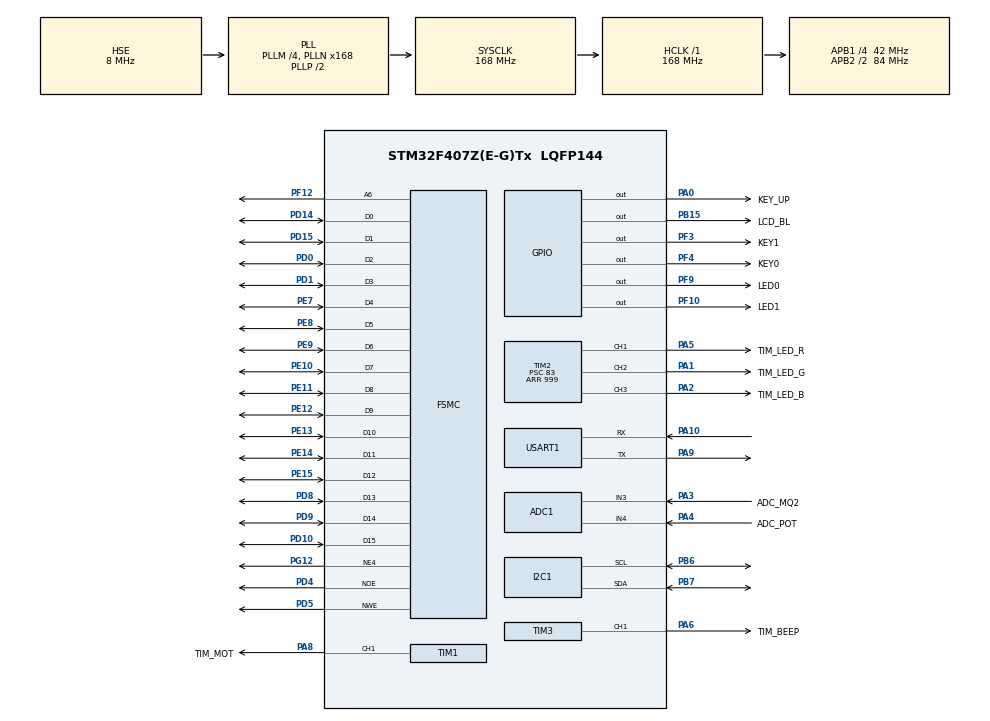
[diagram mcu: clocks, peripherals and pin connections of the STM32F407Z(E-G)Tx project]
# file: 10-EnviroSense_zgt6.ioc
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ADC1.Channel-0\#ChannelRegularConversion=ADC_CHANNEL_3
ADC1.Channel-1\#ChannelRegularConversion=ADC_CHANNEL_4
ADC1.ContinuousConvMode=DISABLE
ADC1.DMAContinuousRequests=ENABLE
ADC1.NbrOfConversion=2
ADC1.NbrOfConversionFlag=1
ADC1.Rank-0\#ChannelRegularConversion=1
ADC1.Rank-1\#ChannelRegularConversion=2
ADC1.SamplingTime-0\#ChannelRegularConversion=ADC_SAMPLETIME_28CYCLES
ADC1.SamplingTime-1\#ChannelRegularConversion=ADC_SAMPLETIME_28CYCLES
ADC1.ScanConvMode=ENABLE
ADC1.master=1
Dma.ADC1.0.Direction=DMA_PERIPH_TO_MEMORY
Dma.ADC1.0.FIFOMode=DMA_FIFOMODE_DISABLE
Dma.ADC1.0.Instance=DMA2_Stream0
Dma.ADC1.0.MemDataAlignment=DMA_MDATAALIGN_HALFWORD
Dma.ADC1.0.MemInc=DMA_MINC_ENABLE
Dma.ADC1.0.Mode=DMA_NORMAL
Dma.ADC1.0.PeriphDataAlignment=DMA_PDATAALIGN_HALFWORD
Dma.ADC1.0.PeriphInc=DMA_PINC_DISABLE
Dma.ADC1.0.Priority=DMA_PRIORITY_LOW
Dma.Request0=ADC1
Dma.Request1=USART1_TX
Dma.USART1_TX.1.Direction=DMA_MEMORY_TO_PERIPH
Dma.USART1_TX.1.FIFOMode=DMA_FIFOMODE_DISABLE
Dma.USART1_TX.1.Instance=DMA2_Stream7
Dma.USART1_TX.1.MemDataAlignment=DMA_MDATAALIGN_BYTE
Dma.USART1_TX.1.MemInc=DMA_MINC_ENABLE
Dma.USART1_TX.1.Mode=DMA_NORMAL
Dma.USART1_TX.1.PeriphDataAlignment=DMA_PDATAALIGN_BYTE
Dma.USART1_TX.1.PeriphInc=DMA_PINC_DISABLE
Dma.USART1_TX.1.Priority=DMA_PRIORITY_LOW
FREERTOS.Tasks01=defaultTask,0,1024,StartDefaultTask,Default,NULL,Dynamic,NULL,NULL
FSMC.BusTurnAroundDuration4=0
FSMC.DataSetupTime4=60
FSMC.ExtendedAddressSetupTime4=9
FSMC.ExtendedBusTurnAroundDuration4=0
FSMC.ExtendedDataSetupTime4=9
FSMC.ExtendedMode4=FSMC_EXTENDED_MODE_ENABLE
Mcu.Family=STM32F4
Mcu.Name=STM32F407Z(E-G)Tx
Mcu.Package=LQFP144
NVIC.DMA2_Stream0_IRQn=true\:5\:0\:false\:false\:true\:true\:false\:true
NVIC.DMA2_Stream7_IRQn=true\:5\:0\:false\:false\:true\:true\:false\:true
NVIC.PriorityGroup=NVIC_PRIORITYGROUP_4
NVIC.TIM6_DAC_IRQn=true\:15\:0\:false\:false\:true\:false\:false\:true
NVIC.TimeBase=TIM6_DAC_IRQn
NVIC.TimeBaseIP=TIM6
NVIC.USART1_IRQn=true\:5\:0\:false\:false\:true\:true\:true\:true
PA0-WKUP.GPIO_Label=KEY_UP
PA0-WKUP.Signal=GPIO_Output
PA0-WKUP.Stacked=true
PA1.GPIO_Label=TIM_LED_G
PA1.GPIO_Speed=GPIO_SPEED_FREQ_HIGH
PA1.Signal=S_TIM2_CH2
PA10.Mode=Asynchronous
PA10.Signal=USART1_RX
PA10.Stacked=true
PA13.Mode=Serial_Wire
PA13.Signal=SYS_JTMS-SWDIO
PA14.Mode=Serial_Wire
PA14.Signal=SYS_JTCK-SWCLK
PA2.GPIO_Label=TIM_LED_B
PA2.GPIO_Speed=GPIO_SPEED_FREQ_HIGH
PA2.Signal=S_TIM2_CH3
PA3.GPIO_Label=ADC_MQ2
PA3.Signal=ADCx_IN3
PA3.Stacked=true
PA4.GPIO_Label=ADC_POT
PA4.Signal=ADCx_IN4
PA4.Stacked=true
PA5.GPIO_Label=TIM_LED_R
PA5.GPIO_Speed=GPIO_SPEED_FREQ_HIGH
PA5.Signal=S_TIM2_CH1_ETR
PA6.GPIO_Label=TIM_BEEP
PA6.GPIO_Speed=GPIO_SPEED_FREQ_HIGH
PA6.Signal=S_TIM3_CH1
PA8.GPIO_Label=TIM_MOT
PA8.Signal=S_TIM1_CH1
PA8.Stacked=true
PA9.Mode=Asynchronous
PA9.Signal=USART1_TX
PA9.Stacked=true
PB15.GPIO_Label=LCD_BL
PB15.Signal=GPIO_Output
PB15.Stacked=true
PB6.Mode=I2C
PB6.Signal=I2C1_SCL
PB6.Stacked=true
PB7.Mode=I2C
PB7.Signal=I2C1_SDA
PB7.Stacked=true
PC14-OSC32_IN.Mode=LSE-External-Oscillator
PC14-OSC32_IN.Signal=RCC_OSC32_IN
PC15-OSC32_OUT.Mode=LSE-External-Oscillator
PC15-OSC32_OUT.Signal=RCC_OSC32_OUT
PD0.Signal=FSMC_D2_DA2
PD1.Signal=FSMC_D3_DA3
PD10.Signal=FSMC_D15_DA15
PD14.Signal=FSMC_D0_DA0
PD15.Signal=FSMC_D1_DA1
PD4.Signal=FSMC_NOE
PD5.Signal=FSMC_NWE
PD8.Signal=FSMC_D13_DA13
PD9.Signal=FSMC_D14_DA14
PE10.Signal=FSMC_D7_DA7
PE11.Signal=FSMC_D8_DA8
PE12.Signal=FSMC_D9_DA9
PE13.Signal=FSMC_D10_DA10
PE14.Signal=FSMC_D11_DA11
PE15.Signal=FSMC_D12_DA12
PE7.Signal=FSMC_D4_DA4
PE8.Signal=FSMC_D5_DA5
PE9.Signal=FSMC_D6_DA6
PF10.GPIO_Label=LED1
PF10.Signal=GPIO_Output
PF10.Stacked=true
PF12.Signal=FSMC_A6
PF3.GPIO_Label=KEY1
PF3.Signal=GPIO_Output
PF4.GPIO_Label=KEY0
PF4.GPIO_PuPd=GPIO_PULLUP
PF4.Signal=GPIO_Output
PF4.Stacked=true
PF9.GPIO_Label=LED0
PF9.Signal=GPIO_Output
PF9.Stacked=true
PG12.Mode=NorPsramChipSelect4_4
PG12.Signal=FSMC_NE4
PH0-OSC_IN.Mode=HSE-External-Oscillator
PH0-OSC_IN.Signal=RCC_OSC_IN
PH1-OSC_OUT.Mode=HSE-External-Oscillator
PH1-OSC_OUT.Signal=RCC_OSC_OUT
ProjectManager.HeapSize=0x200
ProjectManager.StackSize=0x400
ProjectManager.TargetToolchain=MDK-ARM V5.32
RCC.48MHZClocksFreq_Value=84000000
RCC.AHBFreq_Value=168000000
RCC.APB1CLKDivider=RCC_HCLK_DIV4
RCC.APB1Freq_Value=42000000
RCC.APB1TimFreq_Value=84000000
RCC.APB2CLKDivider=RCC_HCLK_DIV2
RCC.APB2Freq_Value=84000000
RCC.APB2TimFreq_Value=168000000
RCC.CortexFreq_Value=168000000
RCC.HCLKFreq_Value=168000000
RCC.HSE_VALUE=8000000
RCC.HSI_VALUE=16000000
RCC.PLLM=4
RCC.PLLN=168
RCC.PLLSourceVirtual=RCC_PLLSOURCE_HSE
RCC.SYSCLKFreq_VALUE=168000000
RCC.SYSCLKSource=RCC_SYSCLKSOURCE_PLLCLK
RCC.VCOOutputFreq_Value=336000000
SH.ADCx_IN3.0=ADC1_IN3,IN3
SH.ADCx_IN4.0=ADC1_IN4,IN4
SH.FSMC_A6.0=FSMC_A6,A6_4
SH.FSMC_D0_DA0.0=FSMC_D0,16b-d4
SH.FSMC_D10_DA10.0=FSMC_D10,16b-d4
SH.FSMC_D11_DA11.0=FSMC_D11,16b-d4
SH.FSMC_D12_DA12.0=FSMC_D12,16b-d4
SH.FSMC_D13_DA13.0=FSMC_D13,16b-d4
SH.FSMC_D14_DA14.0=FSMC_D14,16b-d4
SH.FSMC_D15_DA15.0=FSMC_D15,16b-d4
SH.FSMC_D1_DA1.0=FSMC_D1,16b-d4
SH.FSMC_D2_DA2.0=FSMC_D2,16b-d4
SH.FSMC_D3_DA3.0=FSMC_D3,16b-d4
SH.FSMC_D4_DA4.0=FSMC_D4,16b-d4
SH.FSMC_D5_DA5.0=FSMC_D5,16b-d4
SH.FSMC_D6_DA6.0=FSMC_D6,16b-d4
SH.FSMC_D7_DA7.0=FSMC_D7,16b-d4
SH.FSMC_D8_DA8.0=FSMC_D8,16b-d4
SH.FSMC_D9_DA9.0=FSMC_D9,16b-d4
SH.FSMC_NOE.0=FSMC_NOE,Lcd4
SH.FSMC_NWE.0=FSMC_NWE,Lcd4
SH.S_TIM1_CH1.0=TIM1_CH1,PWM Generation1 CH1
SH.S_TIM2_CH1_ETR.0=TIM2_CH1,PWM Generation1 CH1
SH.S_TIM2_CH2.0=TIM2_CH2,PWM Generation2 CH2
SH.S_TIM2_CH3.0=TIM2_CH3,PWM Generation3 CH3
SH.S_TIM3_CH1.0=TIM3_CH1,PWM Generation1 CH1
TIM1.Channel-PWM\ Generation1\ CH1=TIM_CHANNEL_1
TIM1.Period=999
TIM1.Prescaler=167
TIM2.AutoReloadPreload=TIM_AUTORELOAD_PRELOAD_ENABLE
TIM2.Channel-PWM\ Generation1\ CH1=TIM_CHANNEL_1
TIM2.Channel-PWM\ Generation2\ CH2=TIM_CHANNEL_2
TIM2.Channel-PWM\ Generation3\ CH3=TIM_CHANNEL_3
TIM2.Period=999
TIM2.Prescaler=83
TIM3.AutoReloadPreload=TIM_AUTORELOAD_PRELOAD_ENABLE
TIM3.Channel-PWM\ Generation1\ CH1=TIM_CHANNEL_1
TIM3.Period=999
TIM3.Prescaler=83
USART1.VirtualMode=VM_ASYNC
VP_FREERTOS_VS_CMSIS_V1.Mode=CMSIS_V1
VP_SYS_VS_tim6.Mode=TIM6
VP_TIM1_VS_ClockSourceINT.Mode=Internal
VP_TIM2_VS_ClockSourceINT.Mode=Internal
VP_TIM3_VS_ClockSourceINT.Mode=Internal
board=custom

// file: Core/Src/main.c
/* USER CODE BEGIN Header */
/**
  ******************************************************************************
  * @file           : main.c
  * @brief          : Main program body
  ******************************************************************************
  * @attention
  *
  * Copyright (c) 2025 STMicroelectronics.
  * All rights reserved.
  *
  * This software is licensed under terms that can be found in the LICENSE file
  * in the root directory of this software component.
  * If no LICENSE file comes with this software, it is provided AS-IS.
  *
  ******************************************************************************
  */
/* USER CODE END Header */
#include "main.h"
#include "cmsis_os.h"
#include "adc.h"
#include "dma.h"
#include "i2c.h"
#include "tim.h"
#include "usart.h"
#include "gpio.h"
#include "fsmc.h"

/* USER CODE BEGIN Includes */
#include <stdio.h>
#include "printf_redirect.h"

#define LOG_MODULE "MAIN"
#include "log.h"
/* USER CODE END Includes */

void SystemClock_Config(void);
void MX_FREERTOS_Init(void);

int main(void)
{

  /* MCU Configuration--------------------------------------------------------*/

  /* Reset of all peripherals, Initializes the Flash interface and the Systick. */
  HAL_Init();

  /* Configure the system clock */
  SystemClock_Config();

  /* Initialize all configured peripherals */
  MX_GPIO_Init();
  MX_DMA_Init();
  MX_I2C1_Init();
  MX_USART1_UART_Init();
  MX_FSMC_Init();
  MX_ADC1_Init();
  MX_TIM1_Init();
  MX_TIM2_Init();
  MX_TIM3_Init();
  /* USER CODE BEGIN 2 */
  printf_init(&huart1);

  /* USER CODE END 2 */

  /* Call init function for freertos objects (in freertos.c) */
  MX_FREERTOS_Init();
  /* Start scheduler */
  osKernelStart();

  /* We should never get here as control is now taken by the scheduler */
  /* Infinite loop */
  while (1)
  {

  }
}

void SystemClock_Config(void)
{
  RCC_OscInitTypeDef RCC_OscInitStruct = {0};
  RCC_ClkInitTypeDef RCC_ClkInitStruct = {0};

  /** Configure the main internal regulator output voltage
  */
  __HAL_RCC_PWR_CLK_ENABLE();
  __HAL_PWR_VOLTAGESCALING_CONFIG(PWR_REGULATOR_VOLTAGE_SCALE1);
  /** Initializes the RCC Oscillators according to the specified parameters
  * in the RCC_OscInitTypeDef structure.
  */
  RCC_OscInitStruct.OscillatorType = RCC_OSCILLATORTYPE_HSE;
  RCC_OscInitStruct.HSEState = RCC_HSE_ON;
  RCC_OscInitStruct.PLL.PLLState = RCC_PLL_ON;
  RCC_OscInitStruct.PLL.PLLSource = RCC_PLLSOURCE_HSE;
  RCC_OscInitStruct.PLL.PLLM = 4;
  RCC_OscInitStruct.PLL.PLLN = 168;
  RCC_OscInitStruct.PLL.PLLP = RCC_PLLP_DIV2;
  RCC_OscInitStruct.PLL.PLLQ = 4;
  if (HAL_RCC_OscConfig(&RCC_OscInitStruct) != HAL_OK)
  {
    Error_Handler();
  }
  /** Initializes the CPU, AHB and APB buses clocks
  */
  RCC_ClkInitStruct.ClockType = RCC_CLOCKTYPE_HCLK|RCC_CLOCKTYPE_SYSCLK
                              |RCC_CLOCKTYPE_PCLK1|RCC_CLOCKTYPE_PCLK2;
  RCC_ClkInitStruct.SYSCLKSource = RCC_SYSCLKSOURCE_PLLCLK;
  RCC_ClkInitStruct.AHBCLKDivider = RCC_SYSCLK_DIV1;
  RCC_ClkInitStruct.APB1CLKDivider = RCC_HCLK_DIV4;
  RCC_ClkInitStruct.APB2CLKDivider = RCC_HCLK_DIV2;

  if (HAL_RCC_ClockConfig(&RCC_ClkInitStruct, FLASH_LATENCY_5) != HAL_OK)
  {
    Error_Handler();
  }
}

/* USER CODE BEGIN 4 */
void HAL_UART_TxCpltCallback(UART_HandleTypeDef *huart)
{
  if (huart->Instance == USART1) {
    printf_uart_tx_complete_callback(huart);
  }

}

void HAL_UART_ErrorCallback(UART_HandleTypeDef *huart)
{
  if (huart->Instance == USART1) {
    printf_uart_error_callback(huart);
  }
}

void vApplicationStackOverflowHook(TaskHandle_t xTask, char *pcTaskName)
{
   while(1)
   {
      HAL_GPIO_WritePin(LED1_GPIO_Port, LED1_Pin, GPIO_PIN_SET);
      for(volatile int i=0; i<0xFFFFF; i++);
   }
}

void vApplicationMallocFailedHook(void)
{
    /* Malloc failed hook function.
       Called if a call to pvPortMalloc() fails because there is insufficient
       free memory available in the FreeRTOS heap. */

    taskDISABLE_INTERRUPTS();
    while(1)
    {
        HAL_GPIO_WritePin(LED1_GPIO_Port, LED1_Pin, GPIO_PIN_SET);
        for(volatile int i=0; i<0xFFFFF; i++);
    }
}
/* USER CODE END 4 */

void HAL_TIM_PeriodElapsedCallback(TIM_HandleTypeDef *htim)
{
  if (htim->Instance == TIM6) {
    HAL_IncTick();
  }
}

void Error_Handler(void)
{
  __disable_irq();
  while (1)
  {
  }
}

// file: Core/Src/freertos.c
/* USER CODE BEGIN Header */
/**
  ******************************************************************************
  * File Name          : freertos.c
  * Description        : Code for freertos applications
  ******************************************************************************
  * @attention
  *
  * Copyright (c) 2025 STMicroelectronics.
  * All rights reserved.
  *
  * This software is licensed under terms that can be found in the LICENSE file
  * in the root directory of this software component.
  * If no LICENSE file comes with this software, it is provided AS-IS.
  *
  ******************************************************************************
  */
/* USER CODE END Header */

#include "FreeRTOS.h"
#include "task.h"
#include "main.h"
#include "cmsis_os.h"

/* USER CODE BEGIN Includes */
// lcd and lvgl
#include <stdio.h>
#include "lcd.h"
#include "lvgl.h"
#include "lv_port_disp.h"
#include "lv_port_indev.h"
#include "ui_manager.h"

// sensor and task
#include "sensor_app.h"
#include "devices_manager.h"

#include "adc.h"

// others
#define LOG_MODULE "FREERTOS"
#include "log.h"

/* USER CODE END Includes */

/* USER CODE BEGIN PTD */
uint16_t adc_dma_buffer[2] = {0};
/* USER CODE END PTD */

/* USER CODE BEGIN Variables */
osSemaphoreId sysInitSemaphoreHandle;
/* USER CODE END Variables */
osThreadId defaultTaskHandle;

/* USER CODE BEGIN FunctionPrototypes */
void SystemAppInitTask(void const* argument);
void SystemMonitorTask(void const* argument);
void VerificationTask_Entry(void const * argument);
/* USER CODE END FunctionPrototypes */

void StartDefaultTask(void const * argument);

void MX_FREERTOS_Init(void); /* (MISRA C 2004 rule 8.1) */

/* GetIdleTaskMemory prototype (linked to static allocation support) */
void vApplicationGetIdleTaskMemory( StaticTask_t **ppxIdleTaskTCBBuffer, StackType_t **ppxIdleTaskStackBuffer, uint32_t *pulIdleTaskStackSize );

/* USER CODE BEGIN GET_IDLE_TASK_MEMORY */
static StaticTask_t xIdleTaskTCBBuffer;
static StackType_t xIdleStack[configMINIMAL_STACK_SIZE];

void vApplicationGetIdleTaskMemory( StaticTask_t **ppxIdleTaskTCBBuffer, StackType_t **ppxIdleTaskStackBuffer, uint32_t *pulIdleTaskStackSize )
{
  *ppxIdleTaskTCBBuffer = &xIdleTaskTCBBuffer;
  *ppxIdleTaskStackBuffer = &xIdleStack[0];
  *pulIdleTaskStackSize = configMINIMAL_STACK_SIZE;
  /* place for user code */
}
/* USER CODE END GET_IDLE_TASK_MEMORY */

void MX_FREERTOS_Init(void) {

  /* USER CODE BEGIN RTOS_SEMAPHORES */
  /* add semaphores, ... */
  osSemaphoreDef(sysInitSem); // 定义信号量
  sysInitSemaphoreHandle = osSemaphoreCreate(osSemaphore(sysInitSem), 1); // 创建二进制信号量

  // 创建后立即等待一次，使其初始状态为“不可用”或“已被拿走”
  osSemaphoreWait(sysInitSemaphoreHandle, 0);
  /* USER CODE END RTOS_SEMAPHORES */

  /* Create the thread(s) */
  /* definition and creation of defaultTask */
  osThreadDef(defaultTask, StartDefaultTask, osPriorityNormal, 0, 1024);
  defaultTaskHandle = osThreadCreate(osThread(defaultTask), NULL);

  /* USER CODE BEGIN RTOS_THREADS */
  osThreadDef(SystemAppInitTask, SystemAppInitTask, osPriorityNormal, 0, 512);
  osThreadCreate(osThread(SystemAppInitTask), NULL);

  osThreadDef(SystemMonitorTask, SystemMonitorTask, osPriorityIdle, 0, 128);
  osThreadCreate(osThread(SystemMonitorTask), NULL);

  /* USER CODE END RTOS_THREADS */

}

void StartDefaultTask(void const * argument)
{
  /* USER CODE BEGIN StartDefaultTask */
    /* Infinite loop */

    // 开启日志
    log_init();
    log_set_level(LOG_LEVEL_INFO);  // 设置日志级别

    lv_init();                // 初始化lvgl
    lv_port_disp_init();      // 初始化显示驱动
    lv_port_indev_init();     // 初始化输入设备驱动

    ui_init();                // 初始化UI管理器

    // [MODIFIED] 所有初始化已完成，释放信号量，通知其他任务可以继续
    osSemaphoreRelease(sysInitSemaphoreHandle);

    for(;;)
    {
        lv_task_handler();
        osDelay(4);
    }
  /* USER CODE END StartDefaultTask */
}

/* USER CODE BEGIN Application */

void SystemAppInitTask(void const* argument) {
    // 等待信号量被释放
    osSemaphoreWait(sysInitSemaphoreHandle, osWaitForever);

    HAL_ADC_Start_DMA(&hadc1, (uint32_t*)adc_dma_buffer, 2);

    // 初始化传感器系统
    Sensor_System_Init();

    // 初始化设备管理器
    Drivers_Manager_Init();

    LOG_INFO("系统初始化任务完成，删除本任务");
    osThreadTerminate(osThreadGetId());
}

// 监控任务的函数,LED0闪烁表示系统正在运行
void SystemMonitorTask(void const* argument)
{
    // UBaseType_t hwm_words; // 用于存储返回值（单位：字）
    uint8_t n = 0;

    for(;;)
    {
        // 每5秒检查一次
        if (n == 20) {
            n = 0;
            // // 检查 LVGL 任务的堆栈
            // hwm_words = uxTaskGetStackHighWaterMark(defaultTaskHandle);
            // // 将“字”转换为“字节”并打印
            // LOG_INFO("LVGL Task Stack HWM: %u bytes remaining", hwm_words * 4);

            // // 检查传感器任务的堆栈
            // hwm_words = uxTaskGetStackHighWaterMark(SensorTask_GetHandle());
            // LOG_INFO("Sensor Task Stack HWM: %u bytes remaining", hwm_words * 4);

            // // 检查监控任务自身的堆栈
            // hwm_words = uxTaskGetStackHighWaterMark(NULL); // 传入NULL检查自身
            // LOG_INFO("Monitor Task Stack HWM: %u bytes remaining", hwm_words * 4);

            // LOG_INFO("---------------------------------");
        }
        HAL_GPIO_TogglePin(LED0_GPIO_Port, LED0_Pin);
        n++;
        osDelay(500);
    }
}
/* USER CODE END Application */
